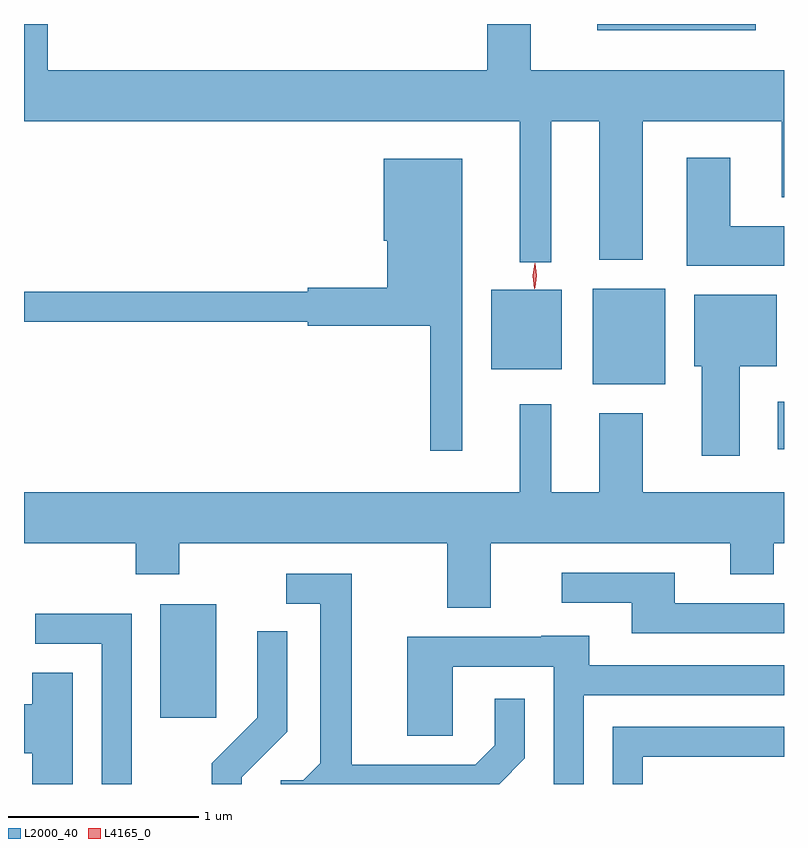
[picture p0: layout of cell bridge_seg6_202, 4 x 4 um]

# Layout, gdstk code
import gdstk
lib = gdstk.Library(unit=1e-6, precision=1e-09)
def R(c, l, rs):  # rectangles x0, y0, x1, y1
    for r in rs: c.add(gdstk.rectangle(r[:2], r[2:], *l))
def P(c, l, *ps):  # polygons
    for p in ps: c.add(gdstk.Polygon(p, *l))
L2000_40 = (2000, 40)
L4165_0 = (4165, 0)

bridge_seg6_202 = lib.new_cell('bridge_seg6_202')
R(bridge_seg6_202, L2000_40, [(1103.601,1546.896,1103.894,1547.494), (1106.851,1548.311,1106.883,1548.559), (1105.876,1548.651,1106.259,1549.154), (1105.341,1548.731,1105.714,1549.149), (1105.901,1550.516,1106.734,1550.548)])
P(bridge_seg6_202, L2000_40, [(1105.659,1550.036),(1105.911,1550.036),(1105.911,1549.306),(1106.139,1549.306),(1106.139,1550.036),(1106.871,1550.036),(1106.871,1549.636),(1106.883,1549.636),(1106.883,1550.304),(1105.549,1550.304),(1105.549,1550.548),(1105.321,1550.548),(1105.321,1550.304),(1103.009,1550.304),(1103.009,1550.548),(1102.883,1550.548),(1102.883,1550.036),(1105.491,1550.036),(1105.491,1549.293),(1105.659,1549.293)],
  [(1106.883,1549.484),(1106.599,1549.484),(1106.599,1549.844),(1106.371,1549.844),(1106.371,1549.276),(1106.883,1549.276)],
  [(1105.189,1549.839),(1104.776,1549.839),(1104.776,1549.406),(1104.796,1549.406),(1104.796,1549.159),(1104.376,1549.159),(1104.376,1549.139),(1102.883,1549.139),(1102.883,1548.981),(1104.376,1548.981),(1104.376,1548.961),(1105.021,1548.961),(1105.021,1548.303),(1105.189,1548.303)],
  [(1106.649,1548.746),(1106.844,1548.746),(1106.844,1549.124),(1106.411,1549.124),(1106.411,1548.746),(1106.451,1548.746),(1106.451,1548.276),(1106.649,1548.276)],
  [(1105.339,1547.816),(1106.601,1547.816),(1106.601,1547.651),(1106.829,1547.651),(1106.829,1547.816),(1106.883,1547.816),(1106.883,1548.084),(1106.139,1548.084),(1106.139,1548.499),(1105.911,1548.499),(1105.911,1548.084),(1105.659,1548.084),(1105.659,1548.548),(1105.491,1548.548),(1105.491,1548.084),(1102.883,1548.084),(1102.883,1547.816),(1103.471,1547.816),(1103.471,1547.651),(1103.699,1547.651),(1103.699,1547.816),(1105.111,1547.816),(1105.111,1547.476),(1105.339,1547.476)],
  [(1106.883,1547.499),(1106.309,1547.499),(1106.309,1547.659),(1105.713,1547.659),(1105.713,1547.501),(1106.081,1547.501),(1106.081,1547.341),(1106.883,1547.341)],
  [(1105.519,1546.684),(1105.519,1546.998),(1105.361,1546.998),(1105.361,1546.752),(1105.259,1546.649),(1104.609,1546.649),(1104.609,1547.654),(1104.263,1547.654),(1104.263,1547.496),(1104.441,1547.496),(1104.441,1546.657),(1104.354,1546.569),(1104.233,1546.569),(1104.233,1546.548),(1105.384,1546.548)],
  [(1103.449,1547.444),(1102.943,1547.444),(1102.943,1547.286),(1103.291,1547.286),(1103.291,1546.548),(1103.449,1546.548)],
  [(1104.029,1546.584),(1104.269,1546.824),(1104.269,1547.353),(1104.111,1547.353),(1104.111,1546.897),(1103.871,1546.657),(1103.871,1546.548),(1104.029,1546.548)],
  [(1105.829,1547.016),(1106.883,1547.016),(1106.883,1547.174),(1105.859,1547.174),(1105.859,1547.329),(1105.605,1547.329),(1105.605,1547.324),(1104.901,1547.324),(1104.901,1546.801),(1105.139,1546.801),(1105.139,1547.166),(1105.671,1547.166),(1105.671,1546.548),(1105.829,1546.548)],
  [(1103.139,1547.134),(1102.926,1547.134),(1102.926,1546.969),(1102.883,1546.969),(1102.883,1546.711),(1102.926,1546.711),(1102.926,1546.548),(1103.139,1546.548)],
  [(1106.139,1546.691),(1106.883,1546.691),(1106.883,1546.849),(1105.981,1546.849),(1105.981,1546.548),(1106.139,1546.548)])
P(bridge_seg6_202, L4165_0, [(1105.572,1549.158),(1105.572,1549.159),(1105.562,1549.223),(1105.572,1549.286),(1105.572,1549.287),(1105.573,1549.286),(1105.582,1549.223),(1105.573,1549.159)],
  [(1105.569,1549.154),(1105.561,1549.222),(1105.572,1549.29),(1105.572,1549.29),(1105.573,1549.29),(1105.581,1549.222),(1105.57,1549.154),(1105.57,1549.154)])

lib.write_gds('bridge_seg6_202.gds')
